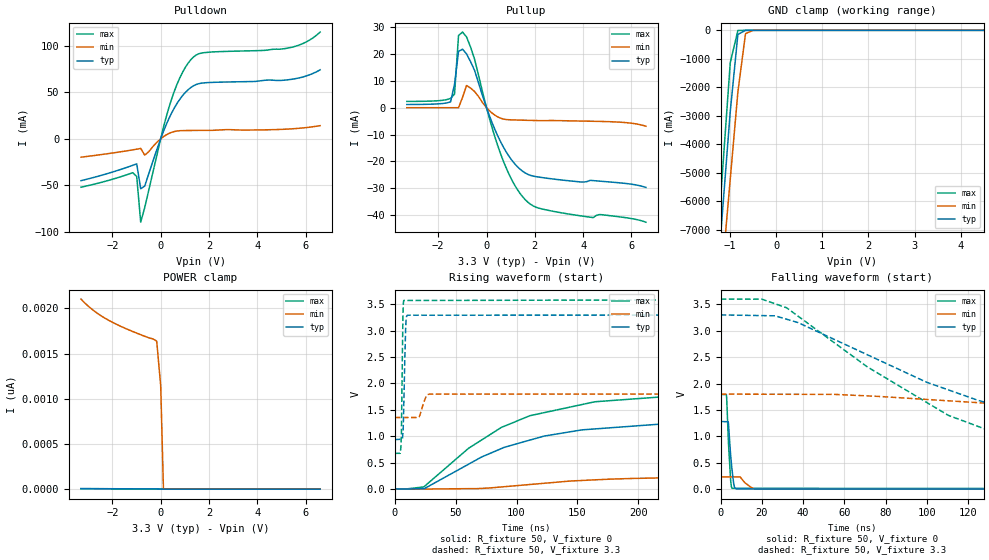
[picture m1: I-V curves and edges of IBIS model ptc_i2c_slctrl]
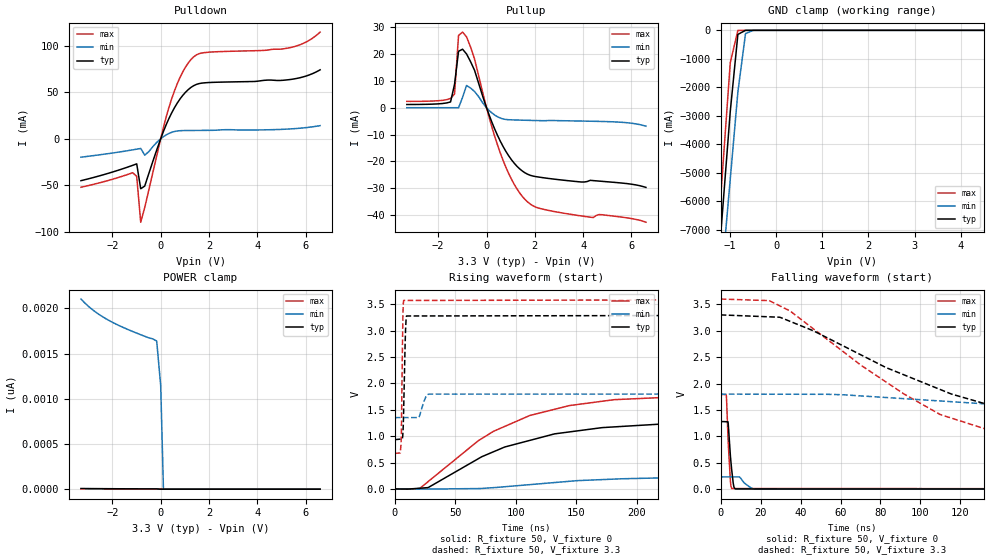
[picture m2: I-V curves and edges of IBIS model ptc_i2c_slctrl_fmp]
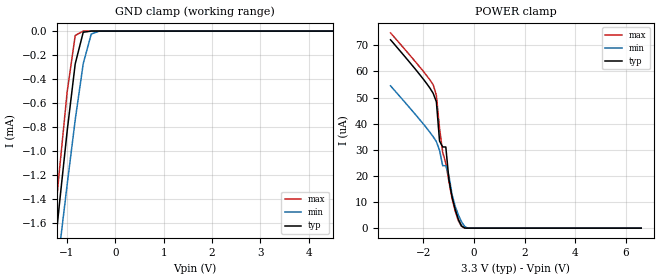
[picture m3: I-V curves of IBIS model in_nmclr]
|   Microchip Technology, Incorporated
|   PIC18F14Q20/PIC18F15Q20/PIC18F16Q20
[IBIS Ver]   4.2
[Date]   February 2, 2024
[File Name]   PIC18F1xQ20_pdip20_LV.ibs
[File rev]   1.0
[SOURCE]   File originated at Microchip
[Notes]   The following is an IBIS list for the PIC18F1xQ20 Family.
|   LV = Low Voltage Range 1.8V, 3.3V, 3.6V.
|   -All test data contained in this file is derived
|   from hspice simulation. Simulations are made with
|   typical process model. Linear extrapolation is
|   used to get to the endpoints where spice model is
|   not well behaved. Customer should be aware that
|   accuracy is not warranted under process variation
|   and extrapolated area.
|   -The package model information is from Amkor Technology
|   -Revision History
|   Version Date   Author
|   1.0   February 2024   SC/LS
[Disclaimer] Property of Microchip technology Incorporated.
                Unauthorized reproduction and/or distribution is strictly
                restricted.  All rights reserved.
                The model provided is not warranted as fully representing
                all of the operating characteristics and specifications
                of all the semiconductor products related to the model.
                Microchip does not assume any liability for the proper
                functioning of these IBIS models in your design or for
                any resulting application.
                Microchip does not assume any liability for infringement
                of patents, copyrights or intellectual property rights
                resulting from your use of these IBIS models.
                Microchip reserves the right to make changes without notice
                to these IBIS models to improve reliability, function, or
                design.
                Please be aware that your receipt and use of the IBIS
                information provided shall serve as acceptance of these
                terms and conditions.  If you do not accept these terms,
                you should return or destroy the IBIS model and any other
                accompanying information immediately.
[Component] PIC18F1xQ20
[manufacturer] MICROCHIP TECHNOLOGY Inc.
[Package]
R_pkg   33.00m   12.00m   54.00m
L_pkg   5.93nH   3.36nH   8.50nH
C_pkg   1.12pF   0.65pF   1.60pF
[Pin]   signal_name   model_name   R_pin   L_pin   C_pin
1   VDD   POWER
2   RA5   io_dig
3   RA4   io_osc2
4   RA3   in_nmclr
5   RC5   io_i2c
6   RC4   io_i2c
7   RC3   io_dig
8   RC6   io_dig
9   RC7   io_dig
10   RB7   io_dig
11   RB6   ptc_i2c
12   RB5   ptc_i3c
13   VDDIO3   POWER
14   VDDIO2   POWER
15   RC1   ptc_i3c
16   RC0   ptc_i2c
17   RA2   io_vrefl
18   RA1   io_vrefh10
19   RA0   io_dig
20   VSS   GND
[Model Selector] ptc_i2c
| Model Description
ptc_i2c_std   Normal Driver
ptc_i2c_slctrl   Slew Rate Limited Driver
ptc_i2c_std_fmp   Normal Driver Fast Mode Plus
ptc_i2c_slctrl_fmp   Slew Rate Limited Driver Fast Mode Plus
[Model Selector] ptc_i3c
| Model Description
ptc_i3c_std   Normal Driver
ptc_i2c_std   Normal Driver
ptc_i2c_slctrl   Slew Rate Limited Driver
ptc_i2c_std_fmp   Normal Driver Fast Mode Plus
ptc_i2c_slctrl_fmp   Slew Rate Limited Driver Fast Mode Plus
|[Package Model]   There is an optional, fairly complex Package Modeling
|   section here in the file if you want it.  You will have
|   to add it yourself, because SiliconSmart has no
|   notion of packaging.  Please see the IBIS Specification
|   for details.
[Model Selector] io_dig
| Model Description
io_dig_std   Normal Driver
io_dig_slctrl   Slew Rate Limited Driver
[Model Selector] io_i2c
| Model Description
io_i2c_std   Normal Driver
io_i2c_slctrl   Slew Rate Limited Driver
[Model Selector] io_osc2
| Model Description
io_osc2_std   Normal Driver
io_osc2_slctrl   Slew Rate Limited Driver
[Model Selector] io_vrefh5
| Model Description
io_vrefh5_std   Normal Driver
io_vrefh5_slctrl   Slew Rate Limited Driver
[Model Selector] io_vrefh8
| Model Description
io_vrefh8_std   Normal Driver
io_vrefh8_slctrl   Slew Rate Limited Driver
[Model Selector] io_vrefl
| Model Description
io_vrefl_std   Normal Driver
io_vrefl_slctrl   Slew Rate Limited Driver
[Model Selector] io_zxover
| Model Description
io_zxover_std   Normal Driver
io_zxover_slctrl   Slew Rate Limited Driver
[Model Selector] io_dacbuf
| Model Description
io_dacbuf_std   Normal Driver
io_dacbuf_slctrl   Slew Rate Limited Driver
[Model Selector] io_wpd
| Model Description
io_wpd_std   Normal Driver
io_wpd_slctrl   Slew Rate Limited Driver
[Model Selector] io_vrefh10
| Model Description
io_vrefh10_std   Normal Driver
io_vrefh10_slctrl   Slew Rate Limited Driver
[Model Selector] io_opa
| Model Description
io_opa_std   Normal Driver
io_opa_slctrl   Slew Rate Limited Driver
| Models and submodels in the file (28): ptc_i2c_std (I/O), ptc_i2c_slctrl (I/O), ptc_i2c_std_fmp (I/O), ptc_i2c_slctrl_fmp (I/O), ptc_i3c_std (I/O), in_nmclr (Input), io_dig_std (I/O), io_dig_slctrl (I/O), io_i2c_std (I/O), io_i2c_slctrl (I/O), io_osc2_std (I/O), io_osc2_slctrl (I/O), io_vrefh5_std (I/O), io_vrefh5_slctrl (I/O), io_vrefh8_std (I/O), io_vrefh8_slctrl (I/O), io_vrefl_std (I/O), io_vrefl_slctrl (I/O), io_zxover_std (I/O), io_zxover_slctrl (I/O), io_dacbuf_std (I/O), io_dacbuf_slctrl (I/O), io_wpd_std (I/O), io_wpd_slctrl (I/O), io_vrefh10_std (I/O), io_vrefh10_slctrl (I/O), io_opa_std (I/O), io_opa_slctrl (I/O)
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[Model] ptc_i2c_slctrl
Model_type I/O
Enable   Active-High
Vinl  =  0.8
Vinh  =  2
| Capacitance   typ   min   max
C_comp   1.98838661529362e-12   1.936286520932678e-12   2.024227933539483e-12
[Model Spec]
| Subparameter   typ   min   max
Vinl   0.99   0.54   1.08
Vinh   2.1   1.26   2.52
Vmeas   1.65   0.9   1.8
| Variables   typ   min   max
[GND Clamp Reference]   0   0   0
[POWER Clamp Reference]   3.3   1.8   3.6
[Pulldown Reference]   0   0   0
[Pullup Reference]   3.3   1.8   3.6
[Temperature Range]   25   125   -40
[Voltage Range]   3.3   1.8   3.6
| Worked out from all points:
|   slope of the pulldown table from 0 to 0.495 V, typ, clamps not added: 16.6 ohm
|   slope of the pullup table from 0 to 0.495 V, typ, clamps not added: 44.8 ohm
|   GND clamp passes 1 mA (typ) near -0.66 V on its own axis
|   falling waveform, R_fixture 50, V_fixture 0: 20-80 % time 1.69ns typ, 3.96ns min, 1.34ns max; typ from 1.28 V to 0 V
|   falling waveform, R_fixture 50, V_fixture 3.3: 20-80 % time 95.6ns typ, 140ns min, 73.2ns max; typ from 3.3 V to 0.937 V
|   rising waveform, R_fixture 50, V_fixture 0: 20-80 % time 85ns typ, 86.6ns min, 80.7ns max; typ from 0 V to 1.28 V
|   rising waveform, R_fixture 50, V_fixture 3.3: 20-80 % time 1.43ns typ, 3.8ns min, 982ps max; typ from 0.933 V to 3.3 V
[GND Clamp]
| Voltage   I(typ)   I(min)   I(max)
-3.3V     -51.07A    -47.87A    -53.84A
-1.324V   -9.771A    -11.34A    -8.69A
-1.159V   -6.312A    -8.283A    -4.908A
-993.1mV  -2.852A    -5.223A    -1.138A
-827.6mV  -143.2mA   -2.163A    -4.59mA
-662.1mV  -919.7uA   -114.5mA   -518.5uA
-496.6mV  -19.72uA   -1.156mA   -5.378uA
6.6V      0A         0A         0A
[POWER Clamp]
| Voltage   I(typ)   I(min)   I(max)
-3.3V     7.272pA    2.102nA    4.371pA
-2.814V   6.225pA    1.982nA    3.954pA
-2.152V   5.06pA     1.867nA    3.392pA
-1.49V    4.113pA    1.781nA    2.842pA
-165.5mV  2.92pA     1.638nA    2.04pA
0V        0A         1.145nA    0A
113.8mV   0A         0A         0A
6.6V      0A         0A         0A
[Pulldown]
| Voltage   I(typ)   I(min)   I(max)
-3.3V     -45.15mA   -19.86mA   -52.2mA
-1.159V   -28.61mA   -11.95mA   -36.57mA
-993.1mV  -27.04mA   -11.21mA   -40.53mA
-827.6mV  -53.85mA   -10.43mA   -89.85mA
-662.1mV  -50.96mA   -17.64mA   -74.19mA
341.4mV   21.81mA    5.724mA    33.74mA
796.6mV   42.72mA    8.675mA    65.86mA
1.252V    55.26mA    8.915mA    85.26mA
1.821V    60.23mA    9.025mA    92.79mA
5.286V    63.56mA    10.47mA    97.75mA
6.031V    67.66mA    12.05mA    104.3mA
6.6V      74.26mA    14.12mA    114.9mA
[Pullup]
| Voltage   I(typ)   I(min)   I(max)
-3.3V     1.215mA    14.69uA    2.382mA
-1.49V    2.175mA    14.65uA    3.485mA
-1.324V   8.732mA    15.3uA     5.112mA
-1.159V   21.05mA    18.12uA    26.96mA
-993.1mV  21.83mA    3.85mA     28.21mA
-827.6mV  20.07mA    8.31mA     26.42mA
-496.6mV  13.98mA    6.071mA    18.15mA
569mV     -12.44mA   -3.832mA   -16.84mA
1.024V    -19.28mA   -4.5mA     -26.51mA
1.593V    -24.27mA   -4.657mA   -34.19mA
2.845V    -26.66mA   -4.774mA   -38.76mA
6.6V      -29.7mA    -6.882mA   -42.67mA
[Ramp]
dV/dt_r   0.768857/85.0164n  0.139498/86.5964n  1.07681/80.6793n
dV/dt_f   1.41787/95.6481n  0.266467/0.139789u  1.75438/73.2449n
R_load = 50
[Falling Waveform]
R_fixture = 50
V_fixture = 0
V_fixture_min = 0
V_fixture_max = 0
| Time   V(typ)   V(min)   V(max)
0s        1.282V     232.6mV    1.795V
2.769ns   1.277V     232.3mV    1.79V
3.75ns    1.252V     232.2mV    900.3mV
4.825ns   647.6mV    232.1mV    171.1mV
5.432ns   396.2mV    232mV      16.45mV
6.259ns   117.3mV    231.9mV    16.43mV
7.465ns   3.53mV     231.8mV    16.39mV
15.96ns   3.476mV    10.94mV    16.14mV
22.41ns   3.435mV    137.5uV    15.95mV
562.5ns   552nV      858.6nV    438nV
[Falling Waveform]
R_fixture = 50
V_fixture = 3.3
V_fixture_min = 1.8
V_fixture_max = 3.6
| Time   V(typ)   V(min)   V(max)
0s        3.3V       1.8V       3.6V
20.02ns   3.287V     1.798V     3.597V
32ns      3.218V     1.797V     3.435V
71.04ns   2.548V     1.767V     2.319V
110.4ns   1.882V     1.674V     1.4V
135.3ns   1.574V     1.613V     1.037V
149.8ns   1.424V     1.577V     943.1mV
205.2ns   1.118V     1.477V     807.2mV
272ns     1.012V     1.415V     751.7mV
562.5ns   936.9mV    1.356V     676mV
[Rising Waveform]
R_fixture = 50
V_fixture = 0
V_fixture_min = 0
V_fixture_max = 0
| Time   V(typ)   V(min)   V(max)
0s        15.09pV    15.17nV    9.81pV
23.8ns    6.221mV    -3.25mV    37.07mV
60.58ns   468.1mV    3.854mV    770.1mV
87.41ns   763.4mV    36.04mV    1.164V
111ns     925.4mV    82.76mV    1.388V
122.5ns   1.001V     105.6mV    1.445V
164.3ns   1.137V     170.8mV    1.652V
219.9ns   1.231V     208.6mV    1.746V
312.2ns   1.272V     225.6mV    1.777V
562.5ns   1.281V     232.5mV    1.795V
[Rising Waveform]
R_fixture = 50
V_fixture = 3.3
V_fixture_min = 1.8
V_fixture_max = 3.6
| Time   V(typ)   V(min)   V(max)
0s        933.3mV    1.353V     673.8mV
4.965ns   941.4mV    1.353V     787.6mV
5.381ns   942.1mV    1.353V     1.065V
6.601ns   1.051V     1.353V     3.222V
7.276ns   1.518V     1.353V     3.573V
8.831ns   3.02V      1.353V     3.573V
10.23ns   3.294V     1.353V     3.573V
19.9ns    3.294V     1.362V     3.573V
28.41ns   3.294V     1.798V     3.574V
562.5ns   3.3V       1.8V       3.6V
[Model] ptc_i2c_slctrl_fmp
Model_type I/O
Enable   Active-High
Vinl  =  0.8
Vinh  =  2
| Capacitance   typ   min   max
C_comp   1.98838661529362e-12   1.936286520932678e-12   2.024227933539483e-12
[Model Spec]
| Subparameter   typ   min   max
Vinl   0.99   0.54   1.08
Vinh   2.1   1.26   2.52
Vmeas   1.65   0.9   1.8
| Variables   typ   min   max
[GND Clamp Reference]   0   0   0
[POWER Clamp Reference]   3.3   1.8   3.6
[Pulldown Reference]   0   0   0
[Pullup Reference]   3.3   1.8   3.6
[Temperature Range]   25   125   -40
[Voltage Range]   3.3   1.8   3.6
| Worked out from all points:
|   slope of the pulldown table from 0 to 0.495 V, typ, clamps not added: 16.6 ohm
|   slope of the pullup table from 0 to 0.495 V, typ, clamps not added: 44.8 ohm
|   GND clamp passes 1 mA (typ) near -0.66 V on its own axis
|   falling waveform, R_fixture 50, V_fixture 0: 20-80 % time 1.69ns typ, 3.94ns min, 1.35ns max; typ from 1.28 V to 0 V
|   falling waveform, R_fixture 50, V_fixture 3.3: 20-80 % time 96.1ns typ, 143ns min, 75.4ns max; typ from 3.3 V to 0.937 V
|   rising waveform, R_fixture 50, V_fixture 0: 20-80 % time 83.9ns typ, 87.4ns min, 79.8ns max; typ from 0 V to 1.28 V
|   rising waveform, R_fixture 50, V_fixture 3.3: 20-80 % time 1.4ns typ, 3.82ns min, 982ps max; typ from 0.933 V to 3.3 V
[GND Clamp]
| Voltage   I(typ)   I(min)   I(max)
-3.3V     -51.07A    -47.87A    -53.84A
-1.324V   -9.771A    -11.34A    -8.69A
-1.159V   -6.312A    -8.283A    -4.908A
-993.1mV  -2.852A    -5.223A    -1.138A
-827.6mV  -143.2mA   -2.163A    -4.59mA
-662.1mV  -919.7uA   -114.5mA   -518.5uA
-496.6mV  -19.72uA   -1.156mA   -5.378uA
6.6V      0A         0A         0A
[POWER Clamp]
| Voltage   I(typ)   I(min)   I(max)
-3.3V     7.272pA    2.102nA    4.371pA
-2.814V   6.225pA    1.982nA    3.954pA
-2.152V   5.06pA     1.867nA    3.392pA
-1.49V    4.113pA    1.781nA    2.842pA
-165.5mV  2.92pA     1.638nA    2.04pA
0V        0A         1.145nA    0A
113.8mV   0A         0A         0A
6.6V      0A         0A         0A
[Pulldown]
| Voltage   I(typ)   I(min)   I(max)
-3.3V     -45.15mA   -19.86mA   -52.2mA
-1.159V   -28.61mA   -11.95mA   -36.57mA
-993.1mV  -27.04mA   -11.21mA   -40.53mA
-827.6mV  -53.85mA   -10.43mA   -89.85mA
-662.1mV  -50.96mA   -17.64mA   -74.19mA
341.4mV   21.81mA    5.724mA    33.74mA
796.6mV   42.72mA    8.675mA    65.86mA
1.252V    55.26mA    8.915mA    85.26mA
1.821V    60.23mA    9.025mA    92.79mA
5.286V    63.56mA    10.47mA    97.75mA
6.031V    67.66mA    12.05mA    104.3mA
6.6V      74.26mA    14.12mA    114.9mA
[Pullup]
| Voltage   I(typ)   I(min)   I(max)
-3.3V     1.215mA    14.69uA    2.382mA
-1.49V    2.175mA    14.65uA    3.485mA
-1.324V   8.732mA    15.3uA     5.112mA
-1.159V   21.05mA    18.12uA    26.96mA
-993.1mV  21.83mA    3.85mA     28.21mA
-827.6mV  20.07mA    8.31mA     26.42mA
-496.6mV  13.98mA    6.071mA    18.15mA
569mV     -12.44mA   -3.832mA   -16.84mA
1.024V    -19.28mA   -4.5mA     -26.51mA
1.593V    -24.27mA   -4.657mA   -34.19mA
2.845V    -26.66mA   -4.774mA   -38.76mA
6.6V      -29.7mA    -6.882mA   -42.67mA
[Ramp]
dV/dt_r   0.768854/83.8661n  0.139501/87.4304n  1.07682/79.822n
dV/dt_f   1.41784/96.1308n  0.266431/0.142825u  1.75438/75.415n
R_load = 50
[Falling Waveform]
R_fixture = 50
V_fixture = 0
V_fixture_min = 0
V_fixture_max = 0
| Time   V(typ)   V(min)   V(max)
0s        1.282V     232.6mV    1.795V
2.769ns   1.277V     232.3mV    1.79V
2.974ns   1.277V     232.3mV    1.669V
3.75ns    1.251V     232.2mV    900.1mV
4.88ns    620.7mV    232.1mV    144.4mV
5.512ns   366.4mV    232.1mV    12.44mV
6.563ns   52.61mV    232mV      12.41mV
7.39ns    4.124mV    231.9mV    12.39mV
17.7ns    4.047mV    1.039mV    12.16mV
562.5ns   549.9nV    872.2nV    446.2nV
[Falling Waveform]
R_fixture = 50
V_fixture = 3.3
V_fixture_min = 1.8
V_fixture_max = 3.6
| Time   V(typ)   V(min)   V(max)
0s        3.3V       1.8V       3.6V
24.29ns   3.264V     1.798V     3.571V
29.65ns   3.256V     1.798V     3.47V
46.41ns   2.999V     1.797V     3.036V
70.25ns   2.543V     1.766V     2.347V
109.9ns   1.888V     1.67V      1.413V
148ns     1.448V     1.578V     953.8mV
201.6ns   1.126V     1.484V     800.5mV
256.7ns   1.03V      1.428V     738.1mV
562.5ns   936.9mV    1.356V     676mV
[Rising Waveform]
R_fixture = 50
V_fixture = 0
V_fixture_min = 0
V_fixture_max = 0
| Time   V(typ)   V(min)   V(max)
0s        14.61pV    15.17nV    9.434pV
20.43ns   13.27mV    -2.748mV   7.116mV
27.48ns   25.05mV    -2.743mV   138.9mV
68.82ns   571mV      7.083mV    911.9mV
81.45ns   704.2mV    24.34mV    1.092V
111.4ns   919.8mV    81.42mV    1.392V
144.2ns   1.081V     144.7mV    1.58V
181.2ns   1.176V     186.4mV    1.692V
255.3ns   1.244V     219.9mV    1.769V
562.5ns   1.281V     232.5mV    1.795V
[Rising Waveform]
R_fixture = 50
V_fixture = 3.3
V_fixture_min = 1.8
V_fixture_max = 3.6
| Time   V(typ)   V(min)   V(max)
0s        933.3mV    1.353V     673.8mV
5.138ns   946.6mV    1.353V     868.4mV
5.38ns    947.2mV    1.353V     1.063V
6.604ns   1.041V     1.353V     3.226V
7.282ns   1.51V      1.353V     3.573V
8.827ns   3.013V     1.353V     3.573V
9.65ns    3.279V     1.353V     3.573V
19.85ns   3.28V      1.36V      3.574V
28.39ns   3.28V      1.798V     3.574V
562.5ns   3.3V       1.8V       3.6V
[Model] in_nmclr
Model_type Input
Vinl  =  0.8
Vinh  =  2
| Capacitance   typ   min   max
C_comp   1.052586481014532e-12   1.034559874084742e-12   1.065473113913984e-12
[Model Spec]
| Subparameter   typ   min   max
Vinl   1.5   0.81   1.65
Vinh   3.6   1.89   3.85
| Variables   typ   min   max
[GND Clamp Reference]   0   0   0
[POWER Clamp Reference]   3.3   1.8   3.6
[Pulldown Reference]   0   0   0
[Pullup Reference]   3.3   1.8   3.6
[Temperature Range]   25   125   -40
[Voltage Range]   3.3   1.8   3.6
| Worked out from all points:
|   GND clamp passes 1 mA (typ) near -1.04 V on its own axis
[GND Clamp]
| Voltage   I(typ)   I(min)   I(max)
-3.3V     -10.24mA   -9.498mA   -10.88mA
-1.324V   -2.111mA   -2.408mA   -1.898mA
-1.159V   -1.458mA   -1.835mA   -1.18mA
-993.1mV  -829.5uA   -1.275mA   -503uA
-827.6mV  -273.1uA   -739.8uA   -36.63uA
-662.1mV  -9.737uA   -271.8uA   -21.5nA
-496.6mV  -21.72nA   -24.54uA   -6.193pA
-331mV    -39.59pA   -386nA     -292.5fA
6.6V      0A         0A         0A
[POWER Clamp]
| Voltage   I(typ)   I(min)   I(max)
-3.3V     72.09uA    54.48uA    74.73uA
-1.614V   51.56uA    34.96uA    54.82uA
-1.49V    48.36uA    33.11uA    50.86uA
-1.366V   33.4uA     29.83uA    38.32uA
-1.241V   31.08uA    23.9uA     29.09uA
-1.117V   31.08uA    23.9uA     24.78uA
-993.1mV  18.48uA    20.03uA    17.73uA
-869mV    11.87uA    12.77uA    11.12uA
-620.7mV  3.35uA     5.041uA    2.802uA
-496.6mV  852.9nA    2.433uA    684.5nA
-124.1mV  42.08pA    3.008nA    9.355pA
6.6V      0A         0A         0A
